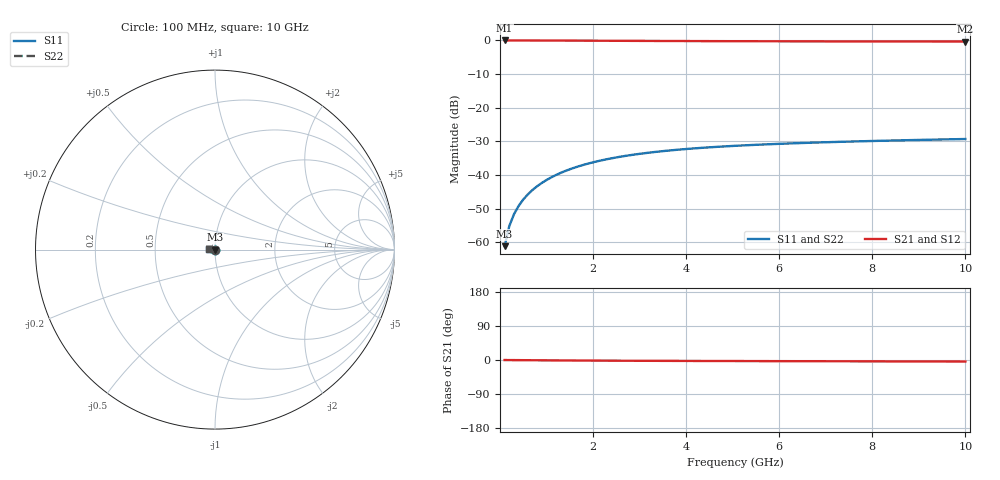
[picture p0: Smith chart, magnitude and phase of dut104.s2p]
! Touchstone file exported from HFSS 2024.1.0
!  File:  C:/UserFiles/LocalFiles/RDL_TSV_Batchsim/temp_TSV1_104_1779377325.aedt
!  Generated:  11:33:09 PM May 21, 2026
!  Design:  TSV1
!  Project:  temp_TSV1_104_1779377325
!  Setup:  Setup1
!  Solution:  Sweep
! Variables:
!  dtsv = 8.83um
!  hbump = 3um
!  htsv = 61.48um
!  lrdl = 252.1521522um
!  p = 40
!  p1 = 44.93um
!  t = 500um
!  trdl = 3um
!  wrdl = 24.89489489um
# GHz S MA R 50.000000
! Terminal data exported
! Port[1] = TSV22_T1
! Port[2] = TSV22_T2
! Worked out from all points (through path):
!   100 points, 100 MHz to 10 GHz, reference 50 ohm
!   highest |S21| = 0.00 dB at 100 MHz (marker M1); lowest = -0.3 dB at 10 GHz (marker M2)
!   lowest |S11| = -61.2 dB at 100 MHz (marker M3), VSWR 1.00, Z = 50 - j0.0862 ohm
!   |S11| at or under -10 dB: start of sweep to end of sweep
!   |S22| runs from -61.2 to -29.3 dB; largest |S21 - S12| = 1.1e-14
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0.1  0.0008724 -81.1  0.9998 -0.1  0.9998 -0.1  0.0008724 -81.1
! Gamma 0 0 0 0
! Port Impedance 50 0 50 0
0.2  0.001732 -87.9  0.9997 -0.2  0.9997 -0.2  0.001732 -87.9
0.3  0.002595 -91.4  0.9996 -0.3  0.9996 -0.3  0.002595 -91.4
0.4  0.003454 -94.1  0.9994 -0.4  0.9994 -0.4  0.003454 -94.1
0.5  0.004306 -96.4  0.9991 -0.5  0.9991 -0.5  0.004306 -96.4
0.6  0.005149 -98.5  0.9988 -0.5  0.9988 -0.5  0.005149 -98.5
0.7  0.005982 -100.5  0.9985 -0.6  0.9985 -0.6  0.005982 -100.5
0.8  0.006803 -102.3  0.9981 -0.7  0.9981 -0.7  0.006803 -102.3
0.9  0.007611 -104.2  0.9977 -0.8  0.9977 -0.8  0.007611 -104.2
1.1  0.009184 -107.7  0.9968 -1.0  0.9968 -1.0  0.009184 -107.7
1.4  0.01142 -112.7  0.9951 -1.2  0.9951 -1.2  0.01142 -112.7
1.6  0.01282 -115.9  0.9939 -1.3  0.9939 -1.3  0.01282 -115.9
1.8  0.01415 -118.9  0.9927 -1.5  0.9927 -1.5  0.01415 -118.9
2.1  0.016 -123.3  0.9907 -1.6  0.9907 -1.6  0.016 -123.3
2.5  0.01821 -128.7  0.9881 -1.9  0.9881 -1.9  0.01821 -128.7
2.9  0.02015 -133.6  0.9856 -2.0  0.9856 -2.0  0.02015 -133.6
3.4  0.02222 -139.2  0.9826 -2.2  0.9826 -2.2  0.02222 -139.2
4.2  0.0249 -147.1  0.9784 -2.5  0.9784 -2.5  0.0249 -147.1
5.1  0.0272 -154.6  0.9747 -2.8  0.9747 -2.8  0.0272 -154.6
6.7  0.03017 -165.4  0.9697 -3.2  0.9697 -3.2  0.03017 -165.4
8.4  0.03247 -174.7  0.9663 -3.6  0.9663 -3.6  0.03247 -174.7
10  0.03422 178.1  0.964 -4.1  0.964 -4.1  0.03422 178.1
